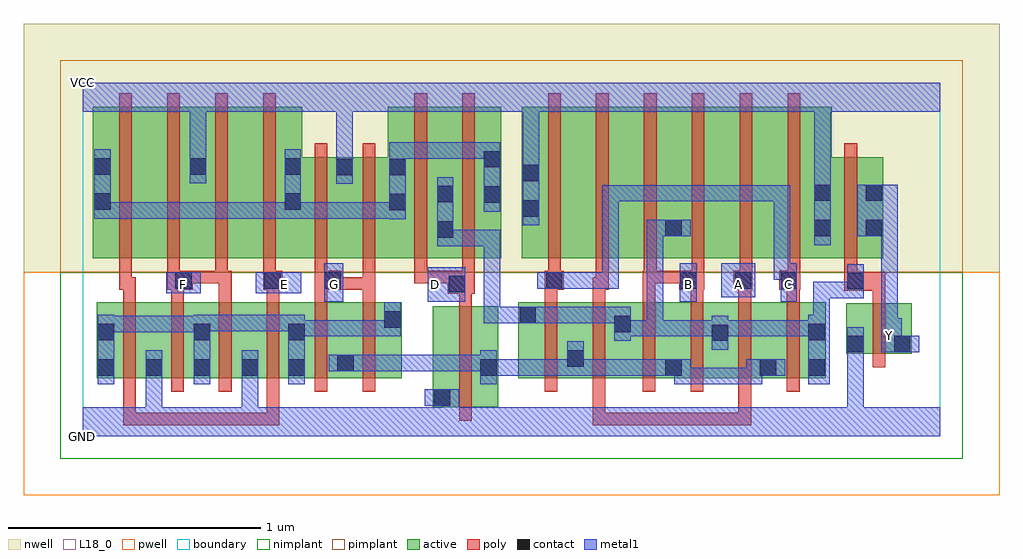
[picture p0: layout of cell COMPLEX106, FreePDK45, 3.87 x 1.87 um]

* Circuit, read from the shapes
.subckt COMPLEX106 A B C D E F G GND VCC Y
M1 GND E n1 VSUBS nfet w=0.3u l=0.05u m=2
M2 n1 F GND VSUBS nfet w=0.3u l=0.05u m=2
M3 n2 G n1 VSUBS nfet w=0.3u l=0.05u m=2
M4 n2 D GND VSUBS nfet w=0.4u l=0.05u
M5 n2 C n3 VSUBS nfet w=0.3u l=0.05u m=2
M6 n3 A n2 VSUBS nfet w=0.3u l=0.05u m=2
M7 n2 B n3 VSUBS nfet w=0.3u l=0.05u m=2
M8 Y n3 GND VSUBS nfet w=0.2u l=0.05u
M9 n4 E n5 n6 pfet w=0.6u l=0.05u
M10 VCC F n4 n6 pfet w=0.6u l=0.05u
M11 n7 F VCC n6 pfet w=0.6u l=0.05u
M12 n5 E n7 n6 pfet w=0.6u l=0.05u
M13 VCC G n5 n6 pfet w=0.4u l=0.05u m=2
M14 n3 D n5 n6 pfet w=0.6u l=0.05u m=2
M15 n8 C VCC n6 pfet w=0.6u l=0.05u
M16 n9 A n8 n6 pfet w=0.6u l=0.05u
M17 n3 B n9 n6 pfet w=0.6u l=0.05u
M18 n10 B n3 n6 pfet w=0.6u l=0.05u
M19 n11 A n10 n6 pfet w=0.6u l=0.05u
M20 VCC C n11 n6 pfet w=0.6u l=0.05u
M21 Y n3 VCC n6 pfet w=0.4u l=0.05u
.ends

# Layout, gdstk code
import gdstk
lib = gdstk.Library(unit=1e-6, precision=1e-09)
def R(c, l, rs):  # rectangles x0, y0, x1, y1
    for r in rs: c.add(gdstk.rectangle(r[:2], r[2:], *l))
def A(c, l, x, y, w, h, nx, ny, dx, dy):  # array of equal rectangles
    R(c, l, [(x+i*dx, y+j*dy, x+i*dx+w, y+j*dy+h) for i in range(nx) for j in range(ny)])
active = (1, 0)
pwell = (2, 0)
nwell = (3, 0)
nimplant = (4, 0)
pimplant = (5, 0)
poly = (9, 0)
contact = (10, 0)
metal1 = (11, 0)
L18_0 = (18, 0)
boundary = (235, 0)

complex106 = lib.new_cell('COMPLEX106')
A(complex106, active, 0.055, 0.23, 0.265, 0.3, 3, 1, 0.19, 0)
R(complex106, active, [(1.387,0.115,1.647,0.515), (1.387,0.115,1.462,0.492), (1.572,0.195,1.647,0.515), (0.055,0.23,0.13,0.53), (0.245,0.23,0.32,0.437), (0.435,0.23,0.51,0.517), (0.625,0.23,0.885,0.53), (0.625,0.23,0.7,0.437), (0.81,0.23,1.08,0.53), (0.81,0.23,0.885,0.45), (1.005,0.23,1.265,0.53), (1.005,0.23,1.08,0.405), (1.727,0.23,1.992,0.53), (1.917,0.23,2.177,0.53), (1.917,0.23,1.992,0.405), (2.102,0.23,2.38,0.53), (2.305,0.23,2.565,0.53), (2.305,0.23,2.38,0.517), (2.49,0.23,2.755,0.53), (2.68,0.23,2.947,0.53), (2.68,0.23,2.755,0.397), (2.872,0.23,2.947,0.53), (1.19,0.295,1.265,0.53), (1.727,0.295,1.802,0.53), (2.102,0.295,2.177,0.482), (2.49,0.295,2.565,0.447), (3.027,0.327,3.102,0.527), (3.027,0.327,3.287,0.527), (3.212,0.327,3.287,0.527), (0.04,0.705,0.265,1.305), (0.04,0.705,0.145,1.2), (0.265,0.705,0.495,1.305), (0.42,0.705,0.645,1.305), (0.645,0.705,0.87,1.305), (0.795,0.705,1.075,1.105), (0.795,0.705,0.87,1.2), (1,0.705,1.285,1.105), (1.21,0.705,1.285,1.2), (1.21,0.705,1.475,1.305), (1.4,0.705,1.475,1.07), (1.4,0.705,1.66,1.305), (1.585,0.705,1.66,1.2), (1.74,0.705,1.965,1.305), (1.74,0.705,1.815,1.305), (1.965,0.705,2.155,1.305), (2.155,0.705,2.38,1.305), (2.305,0.705,2.535,1.305), (2.305,0.705,2.38,1.07), (2.535,0.705,2.725,1.305), (2.725,0.705,2.97,1.305), (2.895,0.705,2.97,1.105), (2.895,0.705,3.175,1.105), (3.1,0.705,3.175,1.105), (0.42,0.707,0.495,1.305), (1,0.822,1.075,1.105)])
R(complex106, pwell, [(-0.235,-0.235,3.635,0.65)])
R(complex106, nwell, [(-0.235,0.65,3.635,1.635)])
R(complex106, nimplant, [(-0.09,-0.09,3.49,0.65)])
R(complex106, pimplant, [(-0.09,0.65,3.49,1.49)])
A(complex106, poly, 0.16, 0.175, 0.05, 0.41, 6, 1, 0.19, 0)
A(complex106, poly, 2.22, 0.175, 0.05, 0.41, 3, 1, 0.19, 0)
A(complex106, poly, 0.73, 0.535, 0.05, 0.095, 3, 1, 0.19, 0)
A(complex106, poly, 0.335, 0.605, 0.05, 0.095, 3, 1, 0.19, 0)
A(complex106, poly, 2.225, 0.605, 0.05, 0.095, 4, 1, 0.19, 0)
A(complex106, poly, 0.145, 0.65, 0.05, 0.71, 4, 1, 0.19, 0)
A(complex106, poly, 1.845, 0.65, 0.05, 0.71, 6, 1, 0.19, 0)
R(complex106, poly, [(0.16,0.042,0.21,0.225), (0.16,0.042,0.21,0.092), (0.16,0.042,0.21,0.092), (0.16,0.042,0.21,0.092), (0.16,0.042,0.437,0.092), (0.387,0.042,0.437,0.092), (0.387,0.042,0.57,0.092), (0.52,0.042,0.57,0.092), (0.52,0.042,0.57,0.092), (0.52,0.042,0.57,0.092), (0.52,0.042,0.78,0.092), (0.73,0.042,0.78,0.225), (0.73,0.042,0.78,0.092), (0.73,0.042,0.78,0.092), (0.73,0.042,0.78,0.092), (2.022,0.042,2.072,0.225), (2.022,0.042,2.072,0.092), (2.022,0.042,2.205,0.092), (2.155,0.042,2.205,0.092), (2.155,0.042,2.205,0.092), (2.155,0.042,2.205,0.092), (2.155,0.042,2.497,0.092), (2.447,0.042,2.497,0.092), (2.447,0.042,2.497,0.092), (2.447,0.042,2.497,0.092), (2.447,0.042,2.65,0.092), (2.6,0.042,2.65,0.225), (2.6,0.042,2.65,0.092), (2.6,0.042,2.65,0.092), (2.6,0.042,2.65,0.092), (1.492,0.06,1.542,0.57), (1.832,0.175,1.882,0.585), (2.022,0.175,2.072,0.585), (2.792,0.175,2.842,0.585), (3.132,0.272,3.182,0.582), (1.492,0.52,1.542,0.615), (3.132,0.532,3.182,0.627), (0.16,0.535,0.21,0.63), (0.35,0.535,0.4,0.63), (0.54,0.535,0.59,0.655), (1.832,0.535,1.882,0.63), (2.022,0.535,2.072,0.63), (2.22,0.535,2.27,0.655), (2.41,0.535,2.46,0.63), (2.6,0.535,2.65,0.63), (2.792,0.535,2.842,0.63), (1.447,0.565,1.555,0.655), (3.02,0.577,3.182,0.652), (0.145,0.58,0.195,0.7), (0.145,0.58,0.21,0.63), (0.335,0.58,0.437,0.655), (0.715,0.58,0.79,0.655), (0.92,0.58,1.027,0.655), (0.977,0.58,1.16,0.63), (1.11,0.58,1.16,0.63), (1.11,0.58,1.16,0.63), (1.11,0.58,1.16,0.63), (1.11,0.58,1.16,0.7), (1.832,0.58,1.907,0.655), (2.022,0.58,2.085,0.63), (2.035,0.58,2.085,0.7), (2.365,0.58,2.465,0.655), (2.58,0.58,2.655,0.655), (2.762,0.58,2.845,0.655), (3.02,0.602,3.07,0.7), (0.387,0.605,0.437,0.655), (0.387,0.605,0.437,0.655), (0.387,0.605,0.575,0.655), (0.525,0.605,0.59,0.655), (0.92,0.605,0.97,0.7), (1.315,0.605,1.365,0.7), (1.315,0.605,1.365,0.655), (1.315,0.605,1.365,0.655), (1.315,0.605,1.365,0.655), (1.315,0.605,1.497,0.655), (1.505,0.605,1.555,0.7), (1.845,0.605,1.895,0.7), (2.22,0.605,2.275,0.655), (2.225,0.605,2.415,0.655), (2.365,0.605,2.415,0.655), (2.365,0.605,2.415,0.655), (0.92,0.65,0.97,1.16), (1.11,0.65,1.16,1.16), (1.315,0.65,1.365,1.36), (1.505,0.65,1.555,1.36), (3.02,0.65,3.07,1.16)])
A(complex106, contact, 0.06, 0.24, 0.065, 0.065, 4, 1, 0.19, 0)
R(complex106, contact, [(1.392,0.12,1.457,0.185), (0.815,0.24,0.88,0.305), (1.577,0.24,1.642,0.305), (2.31,0.24,2.375,0.305), (2.685,0.24,2.75,0.305), (2.877,0.24,2.942,0.305), (1.01,0.257,1.075,0.322), (1.922,0.275,1.987,0.34), (3.032,0.332,3.097,0.397), (3.217,0.332,3.282,0.397), (2.495,0.377,2.56,0.442), (0.06,0.38,0.125,0.445), (0.44,0.38,0.505,0.445), (0.815,0.38,0.88,0.445), (2.877,0.38,2.942,0.445), (2.107,0.412,2.172,0.477), (1.195,0.43,1.26,0.495), (1.732,0.447,1.797,0.512), (1.452,0.57,1.517,0.635), (3.032,0.582,3.097,0.647), (0.367,0.585,0.432,0.65), (0.72,0.585,0.785,0.65), (0.957,0.585,1.022,0.65), (1.837,0.585,1.902,0.65), (2.37,0.585,2.435,0.65), (2.585,0.585,2.65,0.65), (2.767,0.585,2.832,0.65), (1.405,0.787,1.47,0.852), (2.31,0.792,2.375,0.857), (2.9,0.792,2.965,0.857), (3.105,0.792,3.17,0.857), (1.745,0.87,1.81,0.935), (1.215,0.895,1.28,0.96), (0.045,0.897,0.11,0.962), (0.8,0.897,0.865,0.962), (1.59,0.925,1.655,0.99), (1.405,0.927,1.47,0.992), (2.9,0.932,2.965,0.997), (3.105,0.932,3.17,0.997), (1.745,1.01,1.81,1.075), (1.005,1.035,1.07,1.1), (1.215,1.035,1.28,1.1), (0.045,1.037,0.11,1.102), (0.425,1.037,0.49,1.102), (0.8,1.037,0.865,1.102), (1.59,1.065,1.655,1.13)])
R(complex106, metal1, [(0,0,3.4,0.115), (0.25,0.05,0.315,0.27), (0.63,0.05,0.695,0.27), (1.427,0.05,1.492,0.185), (3.032,0.05,3.097,0.115), (3.032,0.05,3.097,0.115), (3.032,0.05,3.097,0.115), (3.032,0.05,3.097,0.115), (3.032,0.05,3.097,0.362), (1.357,0.12,1.492,0.185), (0.06,0.205,0.125,0.48), (0.25,0.205,0.315,0.27), (0.25,0.205,0.315,0.27), (0.25,0.205,0.315,0.34), (0.44,0.205,0.505,0.48), (0.63,0.205,0.695,0.27), (0.63,0.205,0.695,0.27), (0.63,0.205,0.695,0.34), (0.815,0.205,0.88,0.48), (1.577,0.205,1.642,0.34), (2.345,0.205,2.41,0.305), (2.345,0.205,2.577,0.27), (2.512,0.205,2.577,0.27), (2.512,0.205,2.695,0.27), (2.63,0.205,2.695,0.305), (2.877,0.205,2.962,0.48), (1.577,0.24,1.832,0.305), (1.767,0.24,1.832,0.305), (1.767,0.24,1.832,0.305), (1.767,0.24,1.832,0.305), (1.767,0.24,1.987,0.305), (1.922,0.24,1.987,0.375), (1.922,0.24,2.075,0.305), (2.01,0.24,2.075,0.305), (2.01,0.24,2.165,0.305), (2.1,0.24,2.165,0.305), (2.1,0.24,2.272,0.305), (2.207,0.24,2.272,0.305), (2.207,0.24,2.34,0.305), (2.275,0.24,2.41,0.305), (2.345,0.24,2.41,0.305), (2.63,0.24,2.715,0.305), (2.65,0.24,2.785,0.305), (0.975,0.257,1.11,0.322), (1.045,0.257,1.11,0.322), (1.045,0.257,1.11,0.322), (1.045,0.257,1.28,0.322), (1.215,0.257,1.28,0.322), (1.215,0.257,1.28,0.322), (1.215,0.257,1.28,0.322), (1.215,0.257,1.47,0.322), (1.405,0.257,1.47,0.322), (1.405,0.257,1.47,0.322), (1.405,0.257,1.47,0.322), (1.405,0.257,1.642,0.322), (3.032,0.297,3.097,0.432), (3.167,0.332,3.247,0.467), (3.182,0.332,3.247,0.397), (3.182,0.332,3.317,0.397), (2.495,0.342,2.56,0.477), (2.107,0.377,2.172,0.512), (0.815,0.395,0.88,0.46), (0.815,0.395,0.88,0.46), (0.815,0.395,1.122,0.46), (1.057,0.395,1.122,0.46), (1.057,0.395,1.122,0.46), (1.057,0.395,1.122,0.46), (1.057,0.395,1.26,0.46), (1.195,0.395,1.26,0.53), (2.107,0.395,2.262,0.46), (2.197,0.395,2.262,0.46), (2.197,0.395,2.302,0.46), (2.237,0.395,2.302,0.46), (2.237,0.395,2.422,0.46), (2.237,0.395,2.302,0.857), (2.357,0.395,2.422,0.46), (2.357,0.395,2.56,0.46), (2.495,0.395,2.56,0.46), (2.495,0.395,2.56,0.46), (2.495,0.395,2.805,0.46), (2.74,0.395,2.805,0.46), (2.74,0.395,2.832,0.46), (2.767,0.395,2.832,0.46), (2.767,0.395,2.942,0.46), (3.167,0.402,3.232,0.857), (0.06,0.412,0.125,0.477), (0.06,0.412,0.125,0.477), (0.06,0.412,0.352,0.477), (0.287,0.412,0.352,0.477), (0.287,0.412,0.352,0.477), (0.287,0.412,0.352,0.477), (0.287,0.412,0.505,0.477), (0.44,0.415,0.505,0.48), (0.44,0.415,0.505,0.48), (0.44,0.415,0.727,0.48), (0.662,0.415,0.727,0.48), (0.662,0.415,0.727,0.48), (0.662,0.415,0.727,0.48), (0.662,0.415,0.88,0.48), (2.897,0.415,2.962,0.612), (1.59,0.447,1.655,0.512), (1.59,0.447,1.762,0.512), (1.59,0.447,1.655,0.817), (1.697,0.447,1.832,0.512), (1.767,0.447,1.832,0.512), (1.767,0.447,1.832,0.512), (1.767,0.447,1.97,0.512), (1.905,0.447,1.97,0.512), (1.905,0.447,2.075,0.512), (2.01,0.447,2.075,0.512), (2.01,0.447,2.172,0.512), (0.957,0.532,1.032,0.685), (1.367,0.532,1.517,0.67), (2.367,0.532,2.435,0.685), (2.767,0.532,2.832,0.685), (2.897,0.547,2.962,0.612), (2.897,0.547,2.97,0.612), (2.905,0.547,2.97,0.612), (2.905,0.547,3.097,0.612), (3.032,0.547,3.097,0.682), (2.532,0.55,2.667,0.685), (0.332,0.567,0.467,0.65), (0.685,0.567,0.867,0.65), (1.802,0.585,1.937,0.65), (1.872,0.585,1.97,0.65), (1.905,0.585,1.97,0.65), (1.905,0.585,1.97,0.65), (1.905,0.585,1.97,0.65), (1.905,0.585,2.125,0.65), (2.06,0.585,2.125,0.65), (2.06,0.585,2.125,0.65), (2.06,0.585,2.125,0.65), (2.06,0.585,2.125,0.995), (2.74,0.62,2.805,0.685), (2.74,0.62,2.832,0.685), (2.74,0.62,2.805,0.995), (1.405,0.752,1.47,0.817), (1.405,0.752,1.47,0.817), (1.405,0.752,1.47,1.027), (1.405,0.752,1.655,0.817), (1.59,0.752,1.655,0.817), (1.59,0.752,1.655,0.817), (1.59,0.752,1.655,0.817), (2.9,0.757,2.965,1.032), (2.237,0.792,2.302,0.857), (2.237,0.792,2.302,0.857), (2.237,0.792,2.41,0.857), (3.07,0.792,3.232,0.997), (1.745,0.835,1.81,1.11), (1.215,0.86,1.28,1.135), (0.045,0.862,0.11,0.927), (0.045,0.862,0.11,0.927), (0.045,0.862,0.11,1.137), (0.045,0.862,0.352,0.927), (0.287,0.862,0.352,0.927), (0.287,0.862,0.352,0.927), (0.287,0.862,0.352,0.927), (0.287,0.862,0.49,0.927), (0.425,0.862,0.49,0.927), (0.425,0.862,0.49,0.927), (0.425,0.862,0.49,0.927), (0.425,0.862,0.642,0.927), (0.577,0.862,0.642,0.927), (0.577,0.862,0.642,0.927), (0.577,0.862,0.642,0.927), (0.577,0.862,0.865,0.927), (0.8,0.862,0.865,0.927), (0.8,0.862,0.865,0.927), (0.8,0.862,0.865,1.137), (0.8,0.862,1.017,0.927), (0.952,0.862,1.017,0.927), (0.952,0.862,1.017,0.927), (0.952,0.862,1.017,0.927), (0.952,0.862,1.28,0.927), (1.59,0.89,1.655,1.165), (2.06,0.93,2.125,0.995), (2.06,0.93,2.262,0.995), (2.197,0.93,2.262,0.995), (2.197,0.93,2.41,0.995), (2.345,0.93,2.41,0.995), (2.345,0.93,2.41,0.995), (2.345,0.93,2.41,0.995), (2.345,0.93,2.56,0.995), (2.495,0.93,2.56,0.995), (2.495,0.93,2.56,0.995), (2.495,0.93,2.56,0.995), (2.495,0.93,2.56,0.995), (2.495,0.93,2.56,0.995), (2.495,0.93,2.805,0.995), (2.74,0.93,2.805,0.995), (2.9,0.967,2.965,1.35), (1.005,1,1.07,1.135), (0.425,1.002,0.49,1.137), (1.745,1.045,1.81,1.35), (1.005,1.07,1.07,1.135), (1.005,1.07,1.07,1.135), (1.005,1.07,1.07,1.35), (1.215,1.07,1.28,1.165), (0.425,1.072,0.49,1.35), (1.215,1.1,1.28,1.165), (1.215,1.1,1.28,1.165), (1.215,1.1,1.28,1.165), (1.215,1.1,1.417,1.165), (1.352,1.1,1.417,1.165), (1.352,1.1,1.417,1.165), (1.352,1.1,1.417,1.165), (1.352,1.1,1.655,1.165), (0,1.285,3.4,1.4)])
A(complex106, L18_0, 2.367, 0.567, 0.065, 0.065, 3, 1, 0.2, 0)
R(complex106, L18_0, [(0,0,3.4,0.115), (0.25,0.05,0.315,0.27), (0.63,0.05,0.695,0.27), (1.427,0.05,1.492,0.185), (3.032,0.05,3.097,0.115), (3.032,0.05,3.097,0.115), (3.032,0.05,3.097,0.115), (3.032,0.05,3.097,0.115), (3.032,0.05,3.097,0.362), (1.357,0.12,1.492,0.185), (0.25,0.205,0.315,0.27), (0.25,0.205,0.315,0.27), (0.25,0.205,0.315,0.34), (0.63,0.205,0.695,0.27), (0.63,0.205,0.695,0.27), (0.63,0.205,0.695,0.34), (3.032,0.297,3.097,0.432), (3.167,0.332,3.247,0.467), (3.182,0.332,3.247,0.397), (3.182,0.332,3.317,0.397), (3.167,0.367,3.232,0.432), (3.167,0.402,3.232,0.857), (0.957,0.532,1.032,0.685), (1.367,0.532,1.517,0.67), (2.367,0.532,2.435,0.685), (2.767,0.532,2.832,0.685), (2.532,0.55,2.667,0.685), (0.332,0.567,0.467,0.65), (0.367,0.567,0.432,0.632), (0.685,0.567,0.867,0.65), (0.767,0.567,0.832,0.632), (0.967,0.567,1.032,0.632), (1.367,0.567,1.432,0.632), (1.802,0.585,1.937,0.65), (1.872,0.585,1.97,0.65), (1.905,0.585,1.97,0.65), (1.905,0.585,1.97,0.65), (1.905,0.585,1.97,0.65), (1.905,0.585,2.125,0.65), (2.06,0.585,2.125,0.65), (2.06,0.585,2.125,0.65), (2.06,0.585,2.125,0.65), (2.06,0.585,2.125,0.995), (2.74,0.62,2.805,0.685), (2.74,0.62,2.805,0.995), (2.74,0.62,2.832,0.685), (2.9,0.757,2.965,1.032), (3.07,0.792,3.232,0.997), (1.745,0.835,1.81,1.11), (2.06,0.93,2.125,0.995), (2.06,0.93,2.262,0.995), (2.197,0.93,2.262,0.995), (2.197,0.93,2.41,0.995), (2.345,0.93,2.41,0.995), (2.345,0.93,2.41,0.995), (2.345,0.93,2.41,0.995), (2.345,0.93,2.56,0.995), (2.495,0.93,2.56,0.995), (2.495,0.93,2.56,0.995), (2.495,0.93,2.56,0.995), (2.495,0.93,2.56,0.995), (2.495,0.93,2.56,0.995), (2.495,0.93,2.805,0.995), (2.74,0.93,2.805,0.995), (2.9,0.967,2.965,1.35), (1.005,1,1.07,1.135), (0.425,1.002,0.49,1.137), (1.745,1.045,1.81,1.35), (1.005,1.07,1.07,1.135), (1.005,1.07,1.07,1.135), (1.005,1.07,1.07,1.35), (0.425,1.072,0.49,1.35), (0,1.285,3.4,1.4)])
R(complex106, boundary, [(0,0,3.4,1.4)])
complex106.add(gdstk.Label('A', (2.6,0.6), layer=11, texttype=0))
complex106.add(gdstk.Label('B', (2.4,0.6), layer=11, texttype=0))
complex106.add(gdstk.Label('C', (2.8,0.6), layer=11, texttype=0))
complex106.add(gdstk.Label('D', (1.4,0.6), layer=11, texttype=0))
complex106.add(gdstk.Label('E', (0.8,0.6), layer=11, texttype=0))
complex106.add(gdstk.Label('F', (0.4,0.6), layer=11, texttype=0))
complex106.add(gdstk.Label('G', (1,0.6), layer=11, texttype=0))
complex106.add(gdstk.Label('Y', (3.2,0.4), layer=11, texttype=0))
complex106.add(gdstk.Label('VCC', (0,1.4), layer=11, texttype=0))
complex106.add(gdstk.Label('GND', (0,0), layer=11, texttype=0))

lib.write_gds('COMPLEX106.gds')
